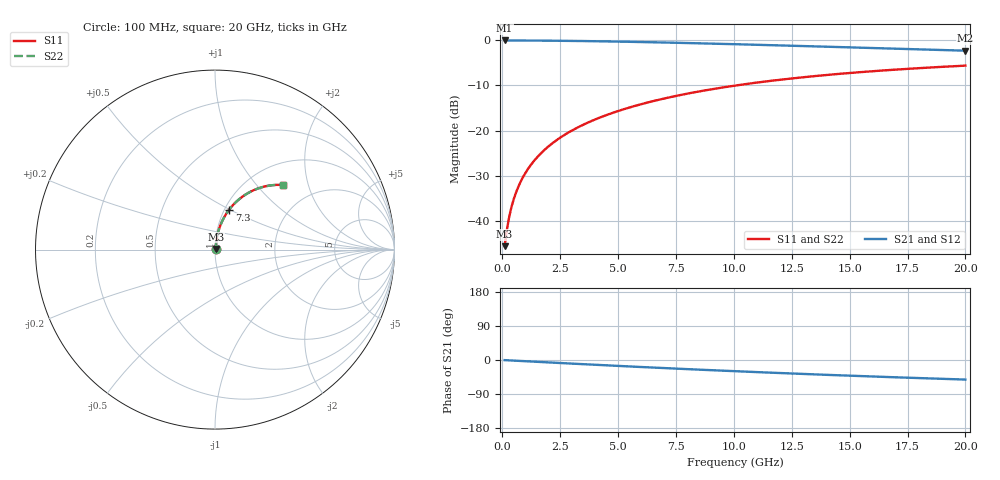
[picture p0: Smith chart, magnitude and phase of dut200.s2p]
! Touchstone file exported from HFSS 2024.1.0
!  File:  C:/UserFiles/LocalFiles/RDL_TSV_Batchsim/temp_RDL_top_200_1778686980.aedt
!  Generated:  11:45:22 PM May 13, 2026
!  Design:  RDL_top
!  Project:  temp_RDL_top_200_1778686980
!  Setup:  Setup1
!  Solution:  Sweep
! Variables:
!  dtsv = 10.80580581um
!  hbump = 3um
!  htsv = 96.22um
!  ldown = 100um
!  lrdl = 682.68um
!  p = 40
!  p1 = 58.5um
!  rhole = 1um
!  t = 450um
!  tdown = 3.915915916um
!  trdl = 4.23um
!  wdown = 15.38538539um
!  wrdl = 14.87um
# GHz S MA R 50.000000
! Terminal data exported
! Port[1] = Box2_T1
! Port[2] = Box2_T2
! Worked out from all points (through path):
!   200 points, 100 MHz to 20 GHz, reference 50 ohm
!   highest |S21| = -0.03 dB at 100 MHz (marker M1); lowest = -2.3 dB at 20 GHz (marker M2)
!   group delay of S21, straight-line fit = 7.16 ps
!   lowest |S11| = -45.6 dB at 100 MHz (marker M3), VSWR 1.01, Z = 50.4 + j0.351 ohm
!   |S11| at or under -10 dB: start of sweep to 10.1 GHz
!   |S22| runs from -45.6 to -5.6 dB; largest |S21 - S12| = 4e-15
!   S11 on the Smith chart (normalised r, x): 100 MHz: 1.01, +0.01; 7.3 GHz: 1.05, +0.50; 20 GHz: 1.41, +1.40
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0.1  0.005245 41.5  0.9961 -0.3  0.9961 -0.3  0.005245 41.5
! Gamma 0 0 0 0
! Port Impedance 50 0 50 0
0.2  0.008018 59.6  0.9959 -0.7  0.9959 -0.7  0.008018 59.6
0.3  0.01114 67.6  0.9958 -1.0  0.9958 -1.0  0.01114 67.6
0.4  0.01434 72.0  0.9956 -1.3  0.9956 -1.3  0.01434 72.0
0.5  0.01758 74.7  0.9954 -1.6  0.9954 -1.6  0.01758 74.7
0.6  0.02084 76.5  0.9952 -1.9  0.9952 -1.9  0.02084 76.5
0.8  0.02738 78.7  0.9948 -2.6  0.9948 -2.6  0.02738 78.7
1.1  0.03726 80.3  0.994 -3.5  0.994 -3.5  0.03726 80.3
1.5  0.05047 81.1  0.9927 -4.8  0.9927 -4.8  0.05047 81.0
1.8  0.06039 81.1  0.9915 -5.8  0.9915 -5.8  0.06039 81.1
2.1  0.0703 81.0  0.9901 -6.7  0.9901 -6.7  0.0703 80.9
2.7  0.09008 80.2  0.9867 -8.6  0.9867 -8.6  0.09007 80.2
3.5  0.1163 78.9  0.9811 -11.1  0.9811 -11.1  0.1163 78.8
4.2  0.139 77.5  0.9752 -13.2  0.9752 -13.2  0.139 77.5
5  0.1646 75.7  0.9677 -15.6  0.9677 -15.6  0.1646 75.7
6.8  0.2208 71.7  0.9477 -20.8  0.9477 -20.8  0.2207 71.7
7.3  0.2359 70.5  0.9417 -22.2  0.9417 -22.2  0.2359 70.5
8.6  0.2743 67.5  0.925 -25.8  0.925 -25.8  0.2742 67.5
10.1  0.3163 64.0  0.9047 -29.7  0.9047 -29.7  0.3162 64.0
13.4  0.3992 56.5  0.858 -37.8  0.858 -37.8  0.399 56.5
16.7  0.4682 49.7  0.8114 -45.1  0.8114 -45.1  0.468 49.6
20  0.524 43.4  0.7673 -51.7  0.7673 -51.7  0.5238 43.4
